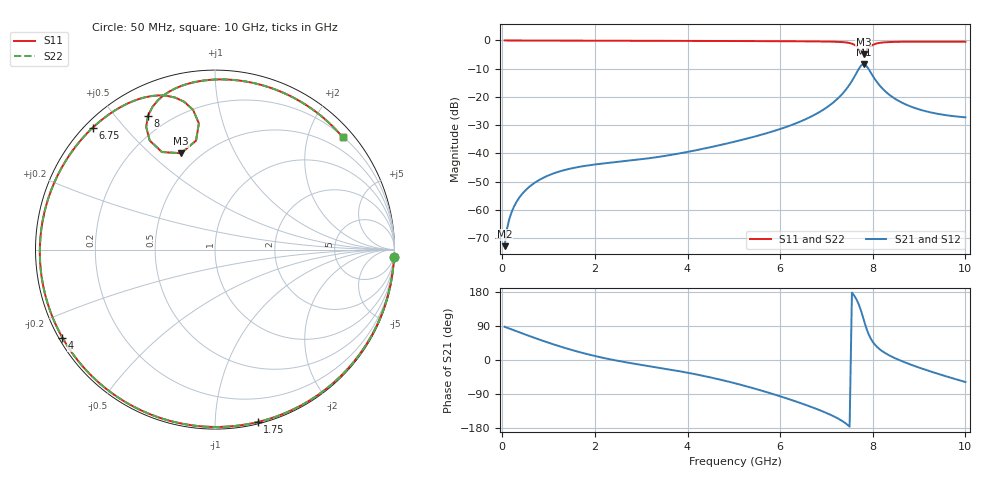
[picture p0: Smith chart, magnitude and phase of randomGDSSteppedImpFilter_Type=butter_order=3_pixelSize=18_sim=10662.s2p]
! freq	dB(S11)	phase(S11)	dB(S12)	phase(S12)
!  dB(S21)	phase(S21)	dB(S22)	phase(S22)
!S-par simulation data
#  GHz  S  DB  R 50
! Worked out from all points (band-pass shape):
!   200 points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, 50 MHz to 10 GHz, reference 50 ohm
!   highest |S21| = -8.35 dB at 7.8 GHz (marker M1); lowest = -72.8 dB at 50 MHz (marker M2)
!   |S21| within 3 dB of the highest: 7.654 GHz to 7.956 GHz (302.2 MHz wide, 3.87 % of centre)
!   lowest |S11| = -4.9 dB at 7.8 GHz (marker M3), VSWR 3.64, Z = 19.9 + j31.6 ohm
!   |S11| at or under -10 dB: nowhere
!   |S22| runs from -4.9 to 0.0 dB; largest |S21 - S12| = 0
!   S11 on the Smith chart (normalised r, x): 50 MHz: 1, -48; 1.75 GHz: 0.01, -1.28; 4 GHz: 0.01, -0.27; 6.75 GHz: 0.02, +0.41; 8 GHz: 0.12, +0.61; 10 GHz: 0.21, +2.63
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0.05  -0.01 -2.4  -72.79 87.7  -72.79 87.7  -0.01 -2.4
0.1  -0.02 -4.7  -66.77 85.4  -66.77 85.4  -0.02 -4.7
0.2  -0.03 -9.3  -60.79 80.7  -60.79 80.7  -0.03 -9.3
0.5  -0.04 -23.0  -53.04 67.1  -53.04 67.1  -0.04 -23.0
1  -0.06 -45.2  -47.73 45.5  -47.73 45.5  -0.05 -45.2
1.75  -0.09 -76.1  -44.47 18.1  -44.47 18.1  -0.09 -76.1
2.5  -0.12 -103.5  -42.96 -2.3  -42.96 -2.3  -0.12 -103.5
3.4  -0.14 -132.5  -41.14 -20.8  -41.14 -20.8  -0.14 -132.5
4  -0.16 -150.0  -39.44 -33.5  -39.44 -33.5  -0.16 -150.0
5.05  -0.21 -178.6  -35.69 -62.2  -35.69 -62.2  -0.21 -178.6
5.9  -0.26 158.8  -31.87 -91.9  -31.87 -91.9  -0.26 158.8
6.7  -0.33 136.5  -26.68 -125.1  -26.68 -125.1  -0.33 136.5
6.75  -0.34 135.0  -26.25 -127.5  -26.25 -127.5  -0.34 135.0
7.2  -0.47 120.5  -21.21 -151.2  -21.21 -151.2  -0.47 120.5
7.5  -0.92 107.5  -15.60 -175.9  -15.60 -175.9  -0.92 107.5
7.7  -2.99 97.3  -10.01 146.0  -10.01 146.0  -2.98 97.3
7.8  -4.90 109.4  -8.35 108.2  -8.35 108.2  -4.89 109.3
7.9  -3.00 120.9  -9.85 71.0  -9.85 71.0  -2.99 120.9
8  -1.57 116.5  -12.54 47.8  -12.54 47.8  -1.57 116.5
8.35  -0.58 99.5  -19.12 12.6  -19.12 12.6  -0.58 99.5
9.15  -0.42 70.8  -25.07 -26.3  -25.07 -26.3  -0.42 70.8
10  -0.47 41.4  -27.20 -58.1  -27.20 -58.1  -0.47 41.4
